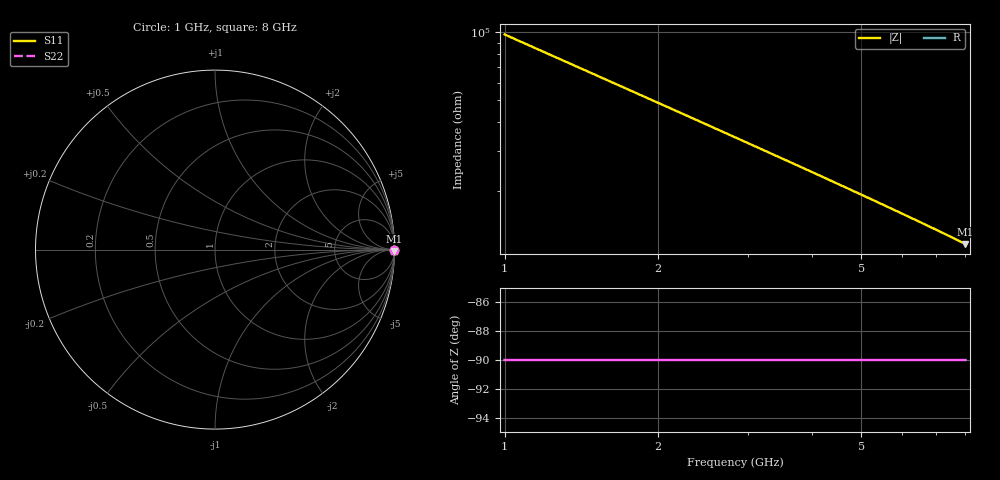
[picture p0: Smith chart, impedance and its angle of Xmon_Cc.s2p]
! Sonnet Data File
! From: em Version : 14.52
! From Project: Xmon_Cc
! Data is De-embedded
! Data File Written: 06/16/2017 12:06:11
!< HDATE 06/16/2017 11:36:16
!< MDATE 06/16/2017 11:36:16
# GHZ Y MA R 1.0
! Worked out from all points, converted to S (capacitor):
!   7001 points, 1 GHz to 8 GHz, reference 1 ohm
!   read as one part in series: C = 1.63 fF near 1.035 GHz
!   lowest |Z| = 11.6 kohm at 8 GHz (marker M1)
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1  0.0004965 90.0  1.022e-05 -90.0  1.022e-05 -90.0  0.0003874 90.0
!< P1 F=1.0 Eeff=(5.83410194 -5.8701e-6) Z0=(165.953024 -8.3945e-5) R=2.46417e-4 C=0.0040973
!< P2 F=1.0 Eeff=(5.67274125 -5.676e-6) Z0=(62.3103315 -3.1144e-5) R=0.0 C=0.00587439
2.167  0.001078 90.0  2.222e-05 -90.0  2.222e-05 -90.0  0.0008401 90.0
3.334  0.001662 90.0  3.435e-05 -90.0  3.435e-05 -90.0  0.001294 90.0
4.5  0.002252 90.0  4.67e-05 -90.0  4.67e-05 -90.0  0.00175 90.0
4.775  0.002392 90.0  4.966e-05 -90.0  4.966e-05 -90.0  0.001858 90.0
4.797  0.002404 90.0  4.99e-05 -90.0  4.99e-05 -90.0  0.001866 90.0
4.82  0.002415 90.0  5.014e-05 -90.0  5.014e-05 -90.0  0.001875 90.0
4.839  0.002425 90.0  5.035e-05 -90.0  5.035e-05 -90.0  0.001883 90.0
5.043  0.002529 90.0  5.256e-05 -90.0  5.256e-05 -90.0  0.001963 90.0
5.25  0.002636 90.0  5.481e-05 -90.0  5.481e-05 -90.0  0.002044 90.0
5.457  0.002742 90.0  5.707e-05 -90.0  5.707e-05 -90.0  0.002126 90.0
5.667  0.00285 90.0  5.938e-05 -90.0  5.938e-05 -90.0  0.002209 90.0
5.94  0.002992 90.0  6.239e-05 -90.0  6.239e-05 -90.0  0.002316 90.0
6.232  0.003144 90.0  6.565e-05 -90.0  6.565e-05 -90.0  0.002432 90.0
6.526  0.003297 90.0  6.895e-05 -90.0  6.895e-05 -90.0  0.002548 90.0
6.834  0.003459 90.0  7.244e-05 -90.0  7.244e-05 -90.0  0.002671 90.0
7.139  0.00362 90.0  7.594e-05 -90.0  7.594e-05 -90.0  0.002792 90.0
7.466  0.003793 90.0  7.972e-05 -90.0  7.972e-05 -90.0  0.002923 90.0
7.682  0.003909 90.0  8.225e-05 -90.0  8.225e-05 -90.0  0.003009 90.0
7.886  0.004018 90.0  8.465e-05 -90.0  8.465e-05 -90.0  0.003091 90.0
7.97  0.004063 90.0  8.564e-05 -90.0  8.564e-05 -90.0  0.003125 90.0
8  0.004079 90.0  8.6e-05 -90.0  8.6e-05 -90.0  0.003137 90.0
